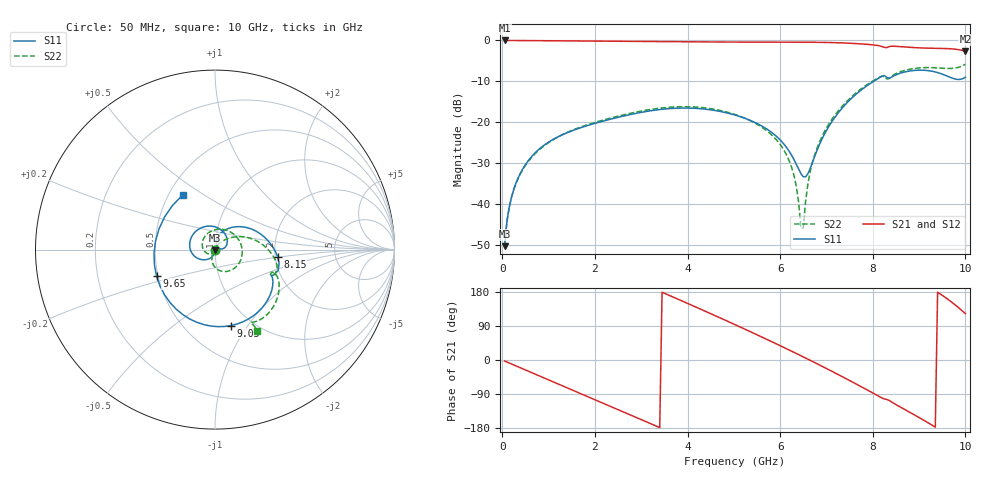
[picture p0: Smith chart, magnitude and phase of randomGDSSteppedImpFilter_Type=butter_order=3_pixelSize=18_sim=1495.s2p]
! freq	dB(S11)	phase(S11)	dB(S12)	phase(S12)
!  dB(S21)	phase(S21)	dB(S22)	phase(S22)
!S-par simulation data
#  GHz  S  DB  R 50
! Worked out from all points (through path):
!   200 points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, 50 MHz to 10 GHz, reference 50 ohm
!   highest |S21| = -0.01 dB at 50 MHz (marker M1); lowest = -2.6 dB at 10 GHz (marker M2)
!   group delay of S21, straight-line fit = 160 ps
!   lowest |S11| = -50.4 dB at 50 MHz (marker M3), VSWR 1.01, Z = 50 - j0.302 ohm
!   |S11| at or under -10 dB: start of sweep to 8.021 GHz
!   |S22| runs from -50.3 to -5.8 dB; largest |S21 - S12| = 0
!   S11 on the Smith chart (normalised r, x): 50 MHz: 1.00, -0.01; 8.15 GHz: 2.06, -0.19; 9.05 GHz: 0.81, -0.84; 9.65 GHz: 0.49, -0.17; 10 GHz: 0.59, +0.41
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0.05  -50.39 -90.0  -0.01 -2.7  -0.01 -2.7  -50.34 -92.2
0.2  -38.34 -95.4  -0.02 -10.5  -0.02 -10.5  -38.36 -104.2
0.5  -30.42 -104.8  -0.04 -26.2  -0.04 -26.2  -30.60 -127.1
1.15  -23.92 -124.6  -0.09 -60.0  -0.09 -60.0  -23.96 -177.9
1.75  -21.16 -139.5  -0.14 -91.3  -0.14 -91.3  -20.99 133.8
2.65  -18.43 -162.1  -0.23 -138.6  -0.23 -138.6  -18.14 62.7
3.4  -16.92 171.8  -0.31 -178.4  -0.31 -178.4  -16.59 10.2
4.15  -16.62 136.3  -0.38 141.3  -0.38 141.3  -16.29 -33.9
5.05  -18.36 80.9  -0.40 92.0  -0.40 92.0  -18.23 -75.3
6.1  -25.65 9.6  -0.41 32.0  -0.41 32.0  -27.23 -113.4
6.35  -30.35 8.5  -0.42 17.2  -0.42 17.2  -35.80 -129.3
6.45  -32.65 21.0  -0.42 11.2  -0.42 11.2  -45.97 -169.7
6.5  -33.38 32.3  -0.42 8.2  -0.42 8.2  -45.90 110.1
6.6  -32.63 58.7  -0.43 2.2  -0.43 2.2  -35.07 67.4
6.7  -29.78 74.5  -0.44 -3.9  -0.44 -3.9  -29.76 58.3
7  -22.06 74.9  -0.50 -22.4  -0.50 -22.4  -21.45 43.1
7.5  -14.62 43.5  -0.68 -54.2  -0.68 -54.2  -14.25 20.2
8.15  -9.08 -6.6  -1.33 -97.0  -1.33 -97.0  -8.99 -13.9
8.35  -9.28 -24.5  -1.53 -106.4  -1.53 -106.4  -9.38 -21.6
9.05  -7.28 -78.0  -1.84 -155.2  -1.84 -155.2  -6.70 -49.7
9.65  -8.94 -155.7  -2.02 157.7  -2.02 157.7  -6.88 -63.9
10  -9.01 120.0  -2.65 122.4  -2.65 122.4  -5.83 -62.6
